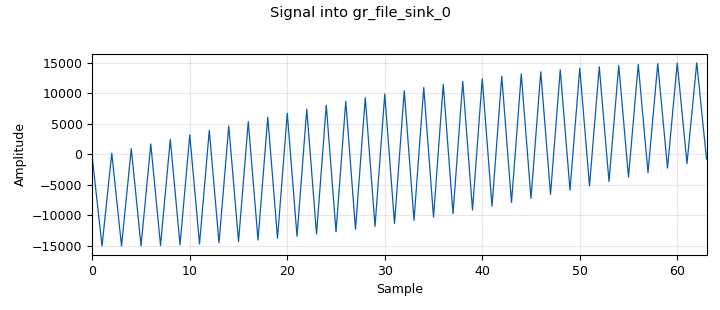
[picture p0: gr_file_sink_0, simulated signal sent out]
<?xml version='1.0' encoding='utf-8'?>
<flow_graph>
<block>
<key>options</key>
<param><key>id</key><value>langford_tx_hi</value></param>
<param><key>generate_options</key><value>wx_gui</value></param>
<param><key>category</key><value>Custom</value></param>
</block>
<block>
<key>variable</key>
<param><key>id</key><value>samp_rate</value></param>
<param><key>value</key><value>500e6/2/2</value></param>
</block>
<block>
<key>gr_file_sink</key>
<param><key>id</key><value>gr_file_sink_0</value></param>
<param><key>file</key><value>/dev/langford</value></param>
<param><key>type</key><value>short</value></param>
<param><key>vlen</key><value>1</value></param>
<param><key>unbuffered</key><value>False</value></param>
</block>
<block>
<key>blocks_complex_to_interleaved_short</key>
<param><key>id</key><value>blocks_complex_to_interleaved_short_0</value></param>
</block>
<block>
<key>variable_slider</key>
<param><key>id</key><value>amp</value></param>
<param><key>label</key><value></value></param>
<param><key>value</key><value>15e3</value></param>
<param><key>min</key><value>0</value></param>
<param><key>max</key><value>33000</value></param>
<param><key>num_steps</key><value>1000</value></param>
<param><key>style</key><value>wx.SL_HORIZONTAL</value></param>
<param><key>converver</key><value>int_converter</value></param>
</block>
<block>
<key>variable_slider</key>
<param><key>id</key><value>freq</value></param>
<param><key>label</key><value></value></param>
<param><key>value</key><value>1e6</value></param>
<param><key>min</key><value>0</value></param>
<param><key>max</key><value>samp_rate/2</value></param>
<param><key>num_steps</key><value>100</value></param>
<param><key>style</key><value>wx.SL_HORIZONTAL</value></param>
<param><key>converver</key><value>float_converter</value></param>
</block>
<block>
<key>variable_slider</key>
<param><key>id</key><value>offset</value></param>
<param><key>label</key><value></value></param>
<param><key>value</key><value>0</value></param>
<param><key>min</key><value>0</value></param>
<param><key>max</key><value>32765</value></param>
<param><key>num_steps</key><value>100</value></param>
<param><key>style</key><value>wx.SL_HORIZONTAL</value></param>
<param><key>converver</key><value>int_converter</value></param>
</block>
<block>
<key>gr_sig_source_x</key>
<param><key>id</key><value>gr_sig_source_x_0</value></param>
<param><key>type</key><value>complex</value></param>
<param><key>samp_rate</key><value>samp_rate</value></param>
<param><key>waveform</key><value>gr.GR_SIN_WAVE</value></param>
<param><key>freq</key><value>freq</value></param>
<param><key>amp</key><value>amp</value></param>
<param><key>offset</key><value>offset</value></param>
</block>
<connection><source_block_id>gr_sig_source_x_0</source_block_id><sink_block_id>blocks_complex_to_interleaved_short_0</sink_block_id><source_key>0</source_key><sink_key>0</sink_key></connection>
<connection><source_block_id>blocks_complex_to_interleaved_short_0</source_block_id><sink_block_id>gr_file_sink_0</sink_block_id><source_key>0</source_key><sink_key>0</sink_key></connection>
</flow_graph>
